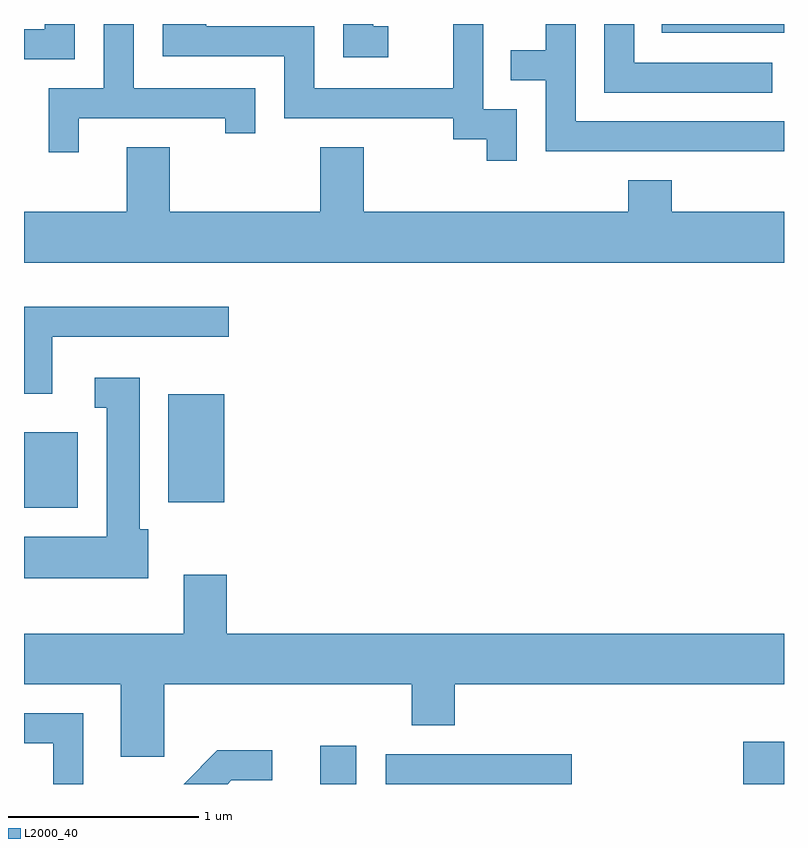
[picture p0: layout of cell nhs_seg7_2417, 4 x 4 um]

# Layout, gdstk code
import gdstk
lib = gdstk.Library(unit=1e-6, precision=1e-09)
def R(c, l, rs):  # rectangles x0, y0, x1, y1
    for r in rs: c.add(gdstk.rectangle(r[:2], r[2:], *l))
def P(c, l, *ps):  # polygons
    for p in ps: c.add(gdstk.Polygon(p, *l))
L2000_40 = (2000, 40)

nhs_seg7_2417 = lib.new_cell('nhs_seg7_2417')
R(nhs_seg7_2417, L2000_40, [(261.171,1698.252,261.359,1698.454), (261.516,1698.252,262.494,1698.409), (263.396,1698.252,263.611,1698.474), (259.611,1699.706,259.894,1700.104), (260.371,1699.736,260.664,1700.304), (262.968,1702.206,263.611,1702.252)])
P(nhs_seg7_2417, L2000_40, [(263.611,1701.739),(262.514,1701.739),(262.514,1702.252),(262.356,1702.252),(262.356,1702.114),(262.173,1702.114),(262.173,1701.956),(262.356,1701.956),(262.356,1701.581),(263.611,1701.581)],
  [(262.204,1701.804),(262.029,1701.804),(262.029,1702.252),(261.871,1702.252),(261.871,1701.914),(261.139,1701.914),(261.139,1702.239),(260.569,1702.239),(260.569,1702.252),(260.341,1702.252),(260.341,1702.081),(260.981,1702.081),(260.981,1701.756),(261.871,1701.756),(261.871,1701.646),(262.046,1701.646),(262.046,1701.533),(262.204,1701.533)],
  [(259.879,1702.252),(259.721,1702.252),(259.721,1702.224),(259.611,1702.224),(259.611,1702.066),(259.879,1702.066)],
  [(261.528,1702.239),(261.449,1702.239),(261.449,1702.252),(261.291,1702.252),(261.291,1702.076),(261.528,1702.076)],
  [(259.899,1701.756),(260.671,1701.756),(260.671,1701.678),(260.829,1701.678),(260.829,1701.914),(260.189,1701.914),(260.189,1702.252),(260.031,1702.252),(260.031,1701.914),(259.741,1701.914),(259.741,1701.578),(259.899,1701.578)],
  [(263.548,1702.049),(262.824,1702.049),(262.824,1702.252),(262.666,1702.252),(262.666,1701.891),(263.548,1701.891)],
  [(263.611,1701.264),(263.019,1701.264),(263.019,1701.429),(262.791,1701.429),(262.791,1701.264),(261.399,1701.264),(261.399,1701.604),(261.171,1701.604),(261.171,1701.264),(260.379,1701.264),(260.379,1701.604),(260.151,1701.604),(260.151,1701.264),(259.611,1701.264),(259.611,1700.996),(263.611,1700.996)],
  [(259.759,1700.606),(260.688,1700.606),(260.688,1700.764),(259.611,1700.764),(259.611,1700.306),(259.759,1700.306)],
  [(260.264,1699.594),(260.219,1699.594),(260.219,1700.389),(259.983,1700.389),(259.983,1700.231),(260.046,1700.231),(260.046,1699.554),(259.611,1699.554),(259.611,1699.336),(260.264,1699.336)],
  [(260.349,1698.776),(261.651,1698.776),(261.651,1698.561),(261.879,1698.561),(261.879,1698.776),(263.611,1698.776),(263.611,1699.044),(260.679,1699.044),(260.679,1699.354),(260.451,1699.354),(260.451,1699.044),(259.611,1699.044),(259.611,1698.776),(260.121,1698.776),(260.121,1698.396),(260.349,1698.396)],
  [(259.924,1698.624),(259.611,1698.624),(259.611,1698.466),(259.766,1698.466),(259.766,1698.252),(259.924,1698.252)],
  [(260.702,1698.271),(260.918,1698.271),(260.918,1698.429),(260.629,1698.429),(260.452,1698.252),(260.683,1698.252)])

lib.write_gds('nhs_seg7_2417.gds')
